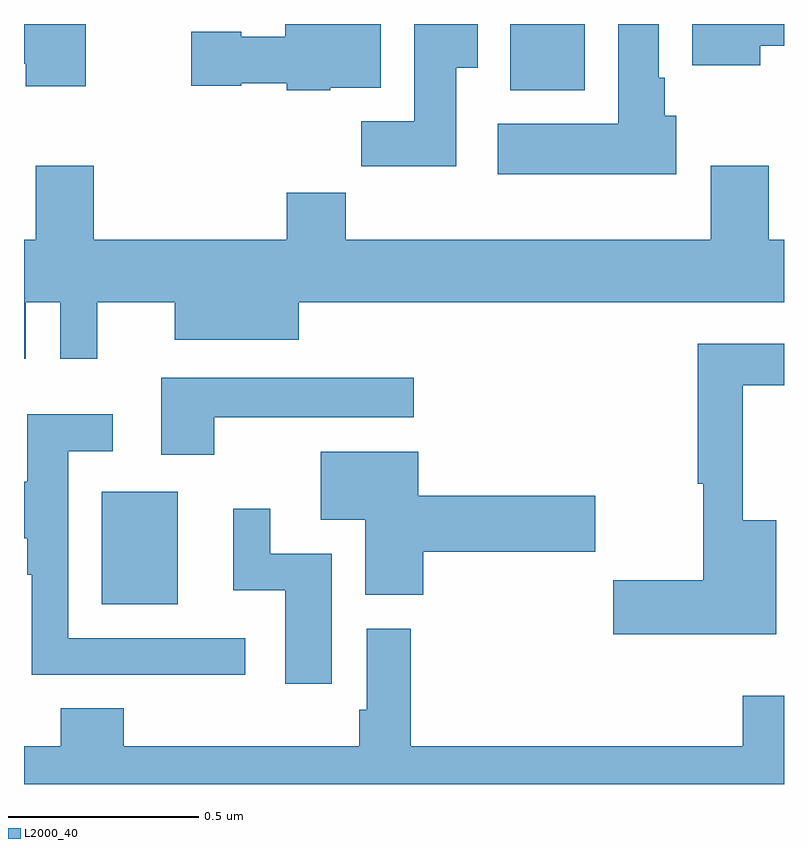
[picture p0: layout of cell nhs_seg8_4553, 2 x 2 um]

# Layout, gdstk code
import gdstk
lib = gdstk.Library(unit=1e-6, precision=1e-09)
def R(c, l, rs):  # rectangles x0, y0, x1, y1
    for r in rs: c.add(gdstk.rectangle(r[:2], r[2:], *l))
def P(c, l, *ps):  # polygons
    for p in ps: c.add(gdstk.Polygon(p, *l))
L2000_40 = (2000, 40)

nhs_seg8_4553 = lib.new_cell('nhs_seg8_4553')
R(nhs_seg8_4553, L2000_40, [(172.205,1114.373,172.405,1114.669), (173.279,1115.726,173.476,1115.9)])
P(nhs_seg8_4553, L2000_40, [(173.137,1115.785),(173.194,1115.785),(173.194,1115.9),(173.027,1115.9),(173.027,1115.644),(172.888,1115.644),(172.888,1115.526),(173.137,1115.526)],
  [(172.162,1115.9),(172,1115.9),(172,1115.796),(172.004,1115.796),(172.004,1115.736),(172.162,1115.736)],
  [(173.716,1115.658),(173.686,1115.658),(173.686,1115.758),(173.671,1115.758),(173.671,1115.9),(173.564,1115.9),(173.564,1115.638),(173.247,1115.638),(173.247,1115.504),(173.716,1115.504)],
  [(172.806,1115.732),(172.939,1115.732),(172.939,1115.9),(172.688,1115.9),(172.688,1115.866),(172.572,1115.866),(172.572,1115.879),(172.44,1115.879),(172.44,1115.737),(172.572,1115.737),(172.572,1115.744),(172.692,1115.744),(172.692,1115.726),(172.806,1115.726)],
  [(173.938,1115.843),(174,1115.843),(174,1115.9),(173.759,1115.9),(173.759,1115.792),(173.938,1115.792)],
  [(172.005,1115.168),(172.095,1115.168),(172.095,1115.019),(172.193,1115.019),(172.193,1115.168),(172.397,1115.168),(172.397,1115.069),(172.723,1115.069),(172.723,1115.168),(174,1115.168),(174,1115.332),(173.96,1115.332),(173.96,1115.527),(173.807,1115.527),(173.807,1115.332),(172.847,1115.332),(172.847,1115.456),(172.691,1115.456),(172.691,1115.332),(172.184,1115.332),(172.184,1115.527),(172.031,1115.527),(172.031,1115.332),(172,1115.332),(172,1115.019),(172.005,1115.019)],
  [(173.98,1114.594),(173.891,1114.594),(173.891,1114.95),(174,1114.95),(174,1115.058),(173.773,1115.058),(173.773,1114.69),(173.788,1114.69),(173.788,1114.436),(173.55,1114.436),(173.55,1114.294),(173.98,1114.294)],
  [(172.501,1114.865),(173.026,1114.865),(173.026,1114.969),(172.361,1114.969),(172.361,1114.767),(172.501,1114.767)],
  [(172.582,1114.284),(172.116,1114.284),(172.116,1114.776),(172.234,1114.776),(172.234,1114.873),(172.008,1114.873),(172.008,1114.695),(172,1114.695),(172,1114.547),(172.008,1114.547),(172.008,1114.451),(172.02,1114.451),(172.02,1114.188),(172.345,1114.188),(172.345,1114.187),(172.582,1114.187)],
  [(173.051,1114.511),(173.503,1114.511),(173.503,1114.658),(173.038,1114.658),(173.038,1114.774),(172.781,1114.774),(172.781,1114.595),(172.898,1114.595),(172.898,1114.398),(173.051,1114.398)],
  [(172.81,1114.506),(172.648,1114.506),(172.648,1114.624),(172.55,1114.624),(172.55,1114.41),(172.688,1114.41),(172.688,1114.164),(172.81,1114.164)],
  [(174,1114.132),(173.891,1114.132),(173.891,1114),(173.018,1114),(173.018,1114.309),(172.902,1114.309),(172.902,1114.096),(172.882,1114.096),(172.882,1114),(172.262,1114),(172.262,1114.099),(172.097,1114.099),(172.097,1114),(172,1114),(172,1113.9),(174,1113.9)])

lib.write_gds('nhs_seg8_4553.gds')
